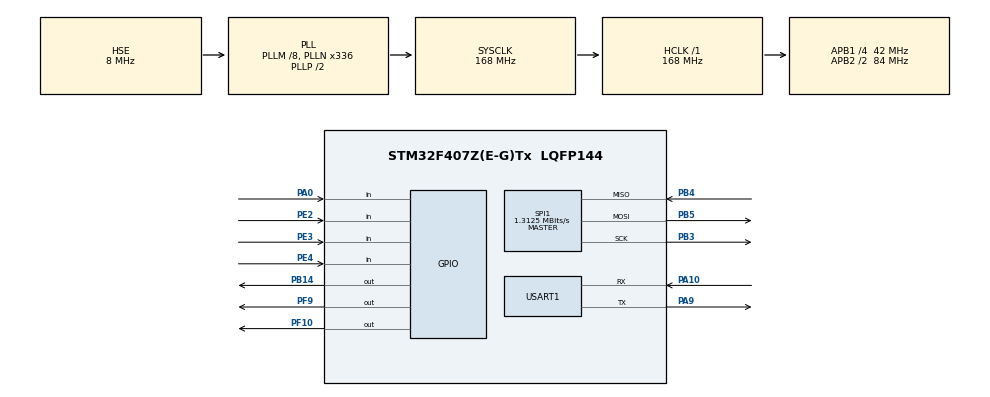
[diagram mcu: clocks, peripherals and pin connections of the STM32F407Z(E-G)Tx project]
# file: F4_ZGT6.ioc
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Dma.Request0=USART1_TX
Dma.USART1_TX.0.Direction=DMA_MEMORY_TO_PERIPH
Dma.USART1_TX.0.FIFOMode=DMA_FIFOMODE_DISABLE
Dma.USART1_TX.0.Instance=DMA2_Stream7
Dma.USART1_TX.0.MemDataAlignment=DMA_MDATAALIGN_BYTE
Dma.USART1_TX.0.MemInc=DMA_MINC_ENABLE
Dma.USART1_TX.0.Mode=DMA_NORMAL
Dma.USART1_TX.0.PeriphDataAlignment=DMA_PDATAALIGN_BYTE
Dma.USART1_TX.0.PeriphInc=DMA_PINC_DISABLE
Dma.USART1_TX.0.Priority=DMA_PRIORITY_MEDIUM
Mcu.Family=STM32F4
Mcu.Name=STM32F407Z(E-G)Tx
Mcu.Package=LQFP144
NVIC.DMA2_Stream7_IRQn=true\:0\:0\:false\:false\:true\:false\:true
NVIC.PriorityGroup=NVIC_PRIORITYGROUP_4
NVIC.TIM3_IRQn=true\:1\:0\:true\:false\:true\:true\:true
NVIC.USART1_IRQn=true\:3\:0\:true\:false\:true\:true\:true
PA0-WKUP.GPIO_PuPd=GPIO_PULLDOWN
PA0-WKUP.Signal=GPIO_Input
PA10.Mode=Asynchronous
PA10.Signal=USART1_RX
PA9.Mode=Asynchronous
PA9.Signal=USART1_TX
PB14.GPIO_ModeDefaultOutputPP=GPIO_MODE_OUTPUT_PP
PB14.GPIO_PuPd=GPIO_PULLUP
PB14.GPIO_Speed=GPIO_SPEED_FREQ_HIGH
PB14.Signal=GPIO_Output
PB3.Mode=Full_Duplex_Master
PB3.Signal=SPI1_SCK
PB4.Mode=Full_Duplex_Master
PB4.Signal=SPI1_MISO
PB5.Mode=Full_Duplex_Master
PB5.Signal=SPI1_MOSI
PE2.GPIO_PuPd=GPIO_PULLUP
PE2.Signal=GPIO_Input
PE3.GPIO_PuPd=GPIO_PULLUP
PE3.Signal=GPIO_Input
PE4.GPIO_PuPd=GPIO_PULLUP
PE4.Signal=GPIO_Input
PF10.GPIO_PuPd=GPIO_PULLUP
PF10.GPIO_Speed=GPIO_SPEED_FREQ_HIGH
PF10.PinState=GPIO_PIN_SET
PF10.Signal=GPIO_Output
PF9.GPIO_ModeDefaultOutputPP=GPIO_MODE_OUTPUT_PP
PF9.GPIO_PuPd=GPIO_PULLUP
PF9.GPIO_Speed=GPIO_SPEED_FREQ_HIGH
PF9.PinState=GPIO_PIN_SET
PF9.Signal=GPIO_Output
PH0-OSC_IN.Mode=HSE-External-Oscillator
PH0-OSC_IN.Signal=RCC_OSC_IN
PH1-OSC_OUT.Mode=HSE-External-Oscillator
PH1-OSC_OUT.Signal=RCC_OSC_OUT
ProjectManager.HeapSize=0x200
ProjectManager.StackSize=0x400
ProjectManager.TargetToolchain=SW4STM32
RCC.48MHZClocksFreq_Value=84000000
RCC.AHBFreq_Value=168000000
RCC.APB1CLKDivider=RCC_HCLK_DIV4
RCC.APB1Freq_Value=42000000
RCC.APB1TimFreq_Value=84000000
RCC.APB2CLKDivider=RCC_HCLK_DIV2
RCC.APB2Freq_Value=84000000
RCC.APB2TimFreq_Value=168000000
RCC.CortexFreq_Value=168000000
RCC.HCLKFreq_Value=168000000
RCC.HSE_VALUE=8000000
RCC.HSI_VALUE=16000000
RCC.LSE_VALUE=32768
RCC.PLLM=8
RCC.PLLN=336
RCC.PLLSourceVirtual=RCC_PLLSOURCE_HSE
RCC.SYSCLKFreq_VALUE=168000000
RCC.SYSCLKSource=RCC_SYSCLKSOURCE_PLLCLK
RCC.VCOOutputFreq_Value=336000000
SPI1.BaudRatePrescaler=SPI_BAUDRATEPRESCALER_64
SPI1.CalculateBaudRate=1.3125 MBits/s
SPI1.Direction=SPI_DIRECTION_2LINES
SPI1.Mode=SPI_MODE_MASTER
SPI1.VirtualType=VM_MASTER
TIM3.AutoReloadPreload=TIM_AUTORELOAD_PRELOAD_DISABLE
TIM3.Period=5000-1
TIM3.Prescaler=8400-1
TIM3.TIM_MasterOutputTrigger=TIM_TRGO_RESET
USART1.VirtualMode=VM_ASYNC
VP_TIM3_VS_ClockSourceINT.Mode=Internal
board=custom

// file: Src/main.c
/* USER CODE BEGIN Header */
/**
  ******************************************************************************
  * @file           : main.c
  * @brief          : Main program body
  ******************************************************************************
  * @attention
  *
  * <h2><center>&copy; Copyright (c) 2020 STMicroelectronics.
  * All rights reserved.</center></h2>
  *
  * This software component is licensed by ST under BSD 3-Clause license,
  * the "License"; You may not use this file except in compliance with the
  * License. You may obtain a copy of the License at:
  *                        opensource.org/licenses/BSD-3-Clause
  *
  ******************************************************************************
  */
/* USER CODE END Header */

#include "main.h"
#include "dma.h"
#include "spi.h"
#include "tim.h"
#include "usart.h"
#include "gpio.h"

/* USER CODE BEGIN Includes */
#include <SYSTEM/delay.h>
#include <BSP/LED.h>
#include <BSP/W25QXX.h>
#include <string.h>
/* USER CODE END Includes */

/* USER CODE BEGIN PV */
uint8_t wData[0x100];
uint8_t rData[0x100];
uint32_t i;
uint8_t ID[2];
/* USER CODE END PV */

void SystemClock_Config(void);

int main(void)
{

  /* MCU Configuration--------------------------------------------------------*/

  /* Reset of all peripherals, Initializes the Flash interface and the Systick. */
  HAL_Init();

  /* USER CODE BEGIN Init */
  delay_init(168);
  /* USER CODE END Init */

  /* Configure the system clock */
  SystemClock_Config();

  /* Initialize all configured peripherals */
  MX_GPIO_Init();
  MX_DMA_Init();
  MX_TIM3_Init();
  MX_USART1_UART_Init();
  MX_SPI1_Init();
  /* USER CODE BEGIN 2 */
  HAL_TIM_Base_Start_IT(&htim3);
  BSP_W25Qx_Init();
  BSP_W25Qx_Read_ID(ID);
  printf(" W25Qxxx ID is : 0x%02X 0x%02X \r\n\r\n",ID[0],ID[1]);
  /* USER CODE END 2 */

  /* Infinite loop */
  while (1)
  {

    /* USER CODE BEGIN 3 */
	LED1_Toggle;
	printf("\n\r welcome to www.waveshere.com!!! \r\n");
	delay_ms(200);
  }
  /* USER CODE END 3 */
}

void SystemClock_Config(void)
{
  RCC_OscInitTypeDef RCC_OscInitStruct = {0};
  RCC_ClkInitTypeDef RCC_ClkInitStruct = {0};

  /** Configure the main internal regulator output voltage
  */
  __HAL_RCC_PWR_CLK_ENABLE();
  __HAL_PWR_VOLTAGESCALING_CONFIG(PWR_REGULATOR_VOLTAGE_SCALE1);
  /** Initializes the CPU, AHB and APB busses clocks
  */
  RCC_OscInitStruct.OscillatorType = RCC_OSCILLATORTYPE_HSE;
  RCC_OscInitStruct.HSEState = RCC_HSE_ON;
  RCC_OscInitStruct.PLL.PLLState = RCC_PLL_ON;
  RCC_OscInitStruct.PLL.PLLSource = RCC_PLLSOURCE_HSE;
  RCC_OscInitStruct.PLL.PLLM = 8;
  RCC_OscInitStruct.PLL.PLLN = 336;
  RCC_OscInitStruct.PLL.PLLP = RCC_PLLP_DIV2;
  RCC_OscInitStruct.PLL.PLLQ = 4;
  if (HAL_RCC_OscConfig(&RCC_OscInitStruct) != HAL_OK)
  {
    Error_Handler();
  }
  /** Initializes the CPU, AHB and APB busses clocks
  */
  RCC_ClkInitStruct.ClockType = RCC_CLOCKTYPE_HCLK|RCC_CLOCKTYPE_SYSCLK
                              |RCC_CLOCKTYPE_PCLK1|RCC_CLOCKTYPE_PCLK2;
  RCC_ClkInitStruct.SYSCLKSource = RCC_SYSCLKSOURCE_PLLCLK;
  RCC_ClkInitStruct.AHBCLKDivider = RCC_SYSCLK_DIV1;
  RCC_ClkInitStruct.APB1CLKDivider = RCC_HCLK_DIV4;
  RCC_ClkInitStruct.APB2CLKDivider = RCC_HCLK_DIV2;

  if (HAL_RCC_ClockConfig(&RCC_ClkInitStruct, FLASH_LATENCY_5) != HAL_OK)
  {
    Error_Handler();
  }
}

void Error_Handler(void)
{
}

/************************ (C) COPYRIGHT STMicroelectronics *****END OF FILE****/
